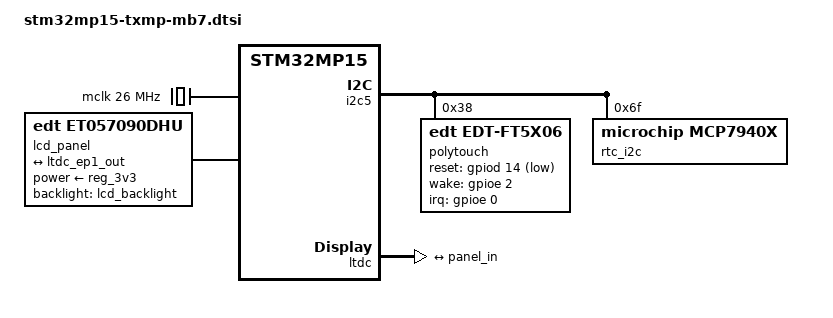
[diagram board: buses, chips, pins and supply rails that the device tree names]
// SPDX-License-Identifier: (GPL-2.0+ OR BSD-3-Clause)

/ {
	aliases {
		display = &lcd_panel;
	};

	clocks {
		#address-cells = <1>;
		#size-cells = <0>;

		mclk: clock@0 {
			compatible = "fixed-clock";
			#clock-cells = <0>;
			reg = <0>;
			clock-frequency = <26000000>;
		};
	};

	lcd_panel: panel {
		compatible = "edt,et057090dhu";
		pinctrl-0 = <&txmp_ltdc_pins>;
		pinctrl-1 = <&txmp_ltdc_pins_sleep>;
		backlight = <&lcd_backlight>;
		power-supply = <&reg_3v3>;
		status = "okay";

		port {
			panel_in: endpoint {
				remote-endpoint = <&ltdc_ep1_out>;
			};
		};

		display-timings {
			native-mode = <&ETV570>;

			VGA: VGA {
				clock-frequency = <25200000>;
				hactive = <640>;
				vactive = <480>;
				hback-porch = <48>;
				hsync-len = <96>;
				hfront-porch = <16>;
				vback-porch = <31>;
				vsync-len = <2>;
				vfront-porch = <12>;
				hsync-active = <0>;
				vsync-active = <0>;
				de-active = <1>;
				pixelclk-active = <0>;
			};

			ETV570: ETV570 {
				u-boot,panel-name = "edt,et057090dhu";
				clock-frequency = <25200000>;
				hactive = <640>;
				vactive = <480>;
				hback-porch = <114>;
				hsync-len = <30>;
				hfront-porch = <16>;
				vback-porch = <32>;
				vsync-len = <3>;
				vfront-porch = <10>;
				hsync-active = <0>;
				vsync-active = <0>;
				de-active = <1>;
				pixelclk-active = <1>;
			};

			ET0350: ET0350 {
				u-boot,panel-name = "edt,et0350g0dh6";
				clock-frequency = <6413760>;
				hactive = <320>;
				vactive = <240>;
				hback-porch = <34>;
				hsync-len = <34>;
				hfront-porch = <20>;
				vback-porch = <15>;
				vsync-len = <3>;
				vfront-porch = <4>;
				hsync-active = <0>;
				vsync-active = <0>;
				de-active = <1>;
				pixelclk-active = <0>;
			};

			ET0430: ET0430 {
				u-boot,panel-name = "edt,et0430g0dh6";
				clock-frequency = <9009000>;
				hactive = <480>;
				vactive = <272>;
				hback-porch = <2>;
				hsync-len = <41>;
				hfront-porch = <2>;
				vback-porch = <2>;
				vsync-len = <10>;
				vfront-porch = <2>;
				hsync-active = <0>;
				vsync-active = <0>;
				de-active = <1>;
				pixelclk-active = <1>;
			};

			ET0500: ET0500 {
				clock-frequency = <33264000>;
				hactive = <800>;
				vactive = <480>;
				hback-porch = <88>;
				hsync-len = <128>;
				hfront-porch = <40>;
				vback-porch = <33>;
				vsync-len = <2>;
				vfront-porch = <10>;
				hsync-active = <0>;
				vsync-active = <0>;
				de-active = <1>;
				pixelclk-active = <0>;
			};

			ET0700: ET0700 { /* same as ET0500 */
				u-boot,panel-name = "edt,etm0700g0dh6";
				clock-frequency = <33264000>;
				hactive = <800>;
				vactive = <480>;
				hback-porch = <88>;
				hsync-len = <128>;
				hfront-porch = <40>;
				vback-porch = <33>;
				vsync-len = <2>;
				vfront-porch = <10>;
				hsync-active = <0>;
				vsync-active = <0>;
				de-active = <1>;
				pixelclk-active = <0>;
			};

			ETQ570: ETQ570 {
				clock-frequency = <6596040>;
				hactive = <320>;
				vactive = <240>;
				hback-porch = <38>;
				hsync-len = <30>;
				hfront-porch = <30>;
				vback-porch = <16>;
				vsync-len = <3>;
				vfront-porch = <4>;
				hsync-active = <0>;
				vsync-active = <0>;
				de-active = <1>;
				pixelclk-active = <0>;
			};
		};
	};

};

&i2c5 {
	status = "okay";

	polytouch: edt-ft5x06@38 {
		compatible = "edt,edt-ft5x06";
		reg = <0x38>;
		interrupt-parent = <&gpioe>;
		interrupts = <0 IRQ_TYPE_EDGE_FALLING>;
		reset-gpios = <&gpiod 14 GPIO_ACTIVE_LOW>; /* Pin 149 */
		wake-gpios = <&gpioe 2 GPIO_ACTIVE_HIGH>; /* Pin 152 */
		wakeup-source;
		status = "okay";
	};

	rtc_i2c: mcp7940x@6f {
		compatible = "microchip,mcp7940x";
		reg = <0x6f>;
		status = "okay";
	};
};

&ltdc {
	status = "okay";

	port {
		#address-cells = <1>;
		#size-cells = <0>;

		ltdc_ep1_out: endpoint@1 {
			reg = <1>;
			remote-endpoint = <&panel_in>;
		};
	};
};

&pinctrl {
	txmp_ltdc_pins: txmp-ltdc-pins {
		pins1 {
			pinmux = <
				  /* LCD_R0 is not connected! */
				  //STM32_PINMUX('G',  9, AF14) /* LCD_R1 */
				  STM32_PINMUX('C', 10, AF14) /* LCD_R2 */
				  STM32_PINMUX('B',  0,  AF9) /* LCD_R3 */
				  STM32_PINMUX('A',  5, AF14) /* LCD_R4 */
				  STM32_PINMUX('C',  0, AF14) /* LCD_R5 */
				  STM32_PINMUX('B',  1,  AF9) /* LCD_R6 */
				  STM32_PINMUX('E', 15, AF14) /* LCD_R7 */
				  //STM32_PINMUX('E', 14, AF13) /* LCD_G0 */
				  //STM32_PINMUX('E',  6, AF14) /* LCD_G1 */
				  STM32_PINMUX('A',  6, AF14) /* LCD_G2 */
				  STM32_PINMUX('E', 11, AF14) /* LCD_G3 */
				  STM32_PINMUX('B', 10, AF14) /* LCD_G4 */
				  STM32_PINMUX('F', 11, AF14) /* LCD_G5 */
				  STM32_PINMUX('C',  7, AF14) /* LCD_G6 */
				  STM32_PINMUX('D',  3, AF14) /* LCD_G7 */
				  //STM32_PINMUX('D',  9, AF14) /* LCD_B0 */
				  //STM32_PINMUX('G', 12, AF14) /* LCD_B1 */
				  STM32_PINMUX('G', 10, AF14) /* LCD_B2 */
				  STM32_PINMUX('D', 10, AF14) /* LCD_B3 */
				  STM32_PINMUX('E', 12, AF14) /* LCD_B4 */
				  STM32_PINMUX('A',  3, AF14) /* LCD_B5 */
				  STM32_PINMUX('B',  8, AF14) /* LCD_B6 */
				  STM32_PINMUX('D',  8, AF14) /* LCD_B7 */
				>;
			bias-disable;
			drive-push-pull;
			slew-rate = <0>;
		};

		pins2 {
			pinmux = <STM32_PINMUX('G',  7, AF14) /* LCD_CLK */
				  STM32_PINMUX('C',  6, AF14) /* LCD_HSYNC */
				  STM32_PINMUX('A',  4, AF14) /* LCD_VSYNC */
				>;
			bias-disable;
			drive-push-pull;
			slew-rate = <1>;
		};

		pins3 {
			pinmux = <
				  STM32_PINMUX('E', 13, AF14) /* LCD_DE */
				>;
			bias-disable;
			drive-push-pull;
			slew-rate = <3>;
		};
	};

	txmp_ltdc_pins_sleep: txmp-lcd-pins-sleep {
		pins {
			pinmux = <
				  STM32_PINMUX('G',  7, ANALOG) /* LCD_CLK */
				  STM32_PINMUX('C',  6, ANALOG) /* LCD_HSYNC */
				  STM32_PINMUX('A',  4, ANALOG) /* LCD_VSYNC */
				  STM32_PINMUX('E', 13, ANALOG) /* LCD_DE */
				  /* LCD_R0 is not connected! */
				  //STM32_PINMUX('G',  9, ANALOG) /* LCD_R1 */
				  STM32_PINMUX('C', 10, ANALOG) /* LCD_R2 */
				  STM32_PINMUX('B',  0, ANALOG) /* LCD_R3 */
				  STM32_PINMUX('A',  5, ANALOG) /* LCD_R4 */
				  STM32_PINMUX('C',  0, ANALOG) /* LCD_R5 */
				  STM32_PINMUX('B',  1, ANALOG) /* LCD_R6 */
				  STM32_PINMUX('E', 15, ANALOG) /* LCD_R7 */
				  //STM32_PINMUX('E', 14, ANALOG) /* LCD_G0 */
				  //STM32_PINMUX('E',  6, ANALOG) /* LCD_G1 */
				  STM32_PINMUX('A',  6, ANALOG) /* LCD_G2 */
				  STM32_PINMUX('E', 11, ANALOG) /* LCD_G3 */
				  STM32_PINMUX('B', 10, ANALOG) /* LCD_G4 */
				  STM32_PINMUX('F', 11, ANALOG) /* LCD_G5 */
				  STM32_PINMUX('C',  7, ANALOG) /* LCD_G6 */
				  STM32_PINMUX('D',  3, ANALOG) /* LCD_G7 */
				  //STM32_PINMUX('D',  9, ANALOG) /* LCD_B0 */
				  //STM32_PINMUX('G', 12, ANALOG) /* LCD_B1 */
				  STM32_PINMUX('G', 10, ANALOG) /* LCD_B2 */
				  STM32_PINMUX('D', 10, ANALOG) /* LCD_B3 */
				  STM32_PINMUX('E', 12, ANALOG) /* LCD_B4 */
				  STM32_PINMUX('A',  3, ANALOG) /* LCD_B5 */
				  STM32_PINMUX('B',  8, ANALOG) /* LCD_B6 */
				  STM32_PINMUX('D',  8, ANALOG) /* LCD_B7 */
				>;
		};
	};
};
